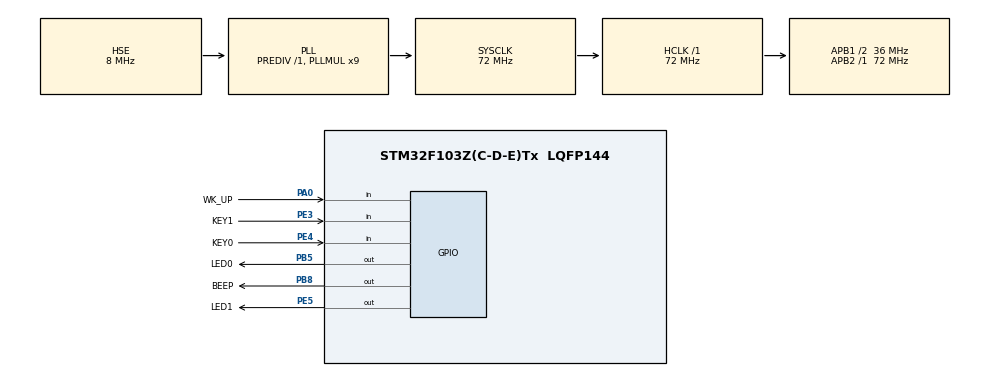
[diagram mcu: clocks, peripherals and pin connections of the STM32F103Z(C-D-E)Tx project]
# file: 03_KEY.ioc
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Mcu.Family=STM32F1
Mcu.Name=STM32F103Z(C-D-E)Tx
Mcu.Package=LQFP144
NVIC.PriorityGroup=NVIC_PRIORITYGROUP_4
OSC_IN.Mode=HSE-External-Oscillator
OSC_IN.Signal=RCC_OSC_IN
OSC_OUT.Mode=HSE-External-Oscillator
OSC_OUT.Signal=RCC_OSC_OUT
PA0-WKUP.GPIO_Label=WK_UP
PA0-WKUP.GPIO_PuPd=GPIO_PULLDOWN
PA0-WKUP.Signal=GPIO_Input
PA13.Mode=Serial_Wire
PA13.Signal=SYS_JTMS-SWDIO
PA14.Mode=Serial_Wire
PA14.Signal=SYS_JTCK-SWCLK
PB5.GPIO_Label=LED0
PB5.GPIO_PuPd=GPIO_PULLUP
PB5.GPIO_Speed=GPIO_SPEED_FREQ_HIGH
PB5.PinState=GPIO_PIN_SET
PB5.Signal=GPIO_Output
PB8.GPIO_Label=BEEP
PB8.GPIO_ModeDefaultOutputPP=GPIO_MODE_OUTPUT_PP
PB8.GPIO_PuPd=GPIO_PULLDOWN
PB8.GPIO_Speed=GPIO_SPEED_FREQ_HIGH
PB8.PinState=GPIO_PIN_RESET
PB8.Signal=GPIO_Output
PC14-OSC32_IN.Mode=LSE-External-Oscillator
PC14-OSC32_IN.Signal=RCC_OSC32_IN
PC15-OSC32_OUT.Mode=LSE-External-Oscillator
PC15-OSC32_OUT.Signal=RCC_OSC32_OUT
PE3.GPIO_Label=KEY1
PE3.GPIO_PuPd=GPIO_PULLUP
PE3.Signal=GPIO_Input
PE4.GPIO_Label=KEY0
PE4.GPIO_PuPd=GPIO_PULLUP
PE4.Signal=GPIO_Input
PE5.GPIO_Label=LED1
PE5.GPIO_PuPd=GPIO_PULLUP
PE5.GPIO_Speed=GPIO_SPEED_FREQ_HIGH
PE5.PinState=GPIO_PIN_SET
PE5.Signal=GPIO_Output
ProjectManager.HeapSize=0x200
ProjectManager.StackSize=0x400
ProjectManager.TargetToolchain=STM32CubeIDE
RCC.AHBFreq_Value=72000000
RCC.APB1CLKDivider=RCC_HCLK_DIV2
RCC.APB1Freq_Value=36000000
RCC.APB1TimFreq_Value=72000000
RCC.APB2Freq_Value=72000000
RCC.APB2TimFreq_Value=72000000
RCC.HCLKFreq_Value=72000000
RCC.PLLMUL=RCC_PLL_MUL9
RCC.PLLSourceVirtual=RCC_PLLSOURCE_HSE
RCC.SYSCLKFreq_VALUE=72000000
RCC.SYSCLKSource=RCC_SYSCLKSOURCE_PLLCLK
RCC.USBFreq_Value=72000000
board=custom

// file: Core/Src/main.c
/* USER CODE BEGIN Header */

/* USER CODE END Header */
#include "main.h"
#include "gpio.h"

/* USER CODE BEGIN Includes */
#include "../../BSP/LED/led.h"
#include "../../BSP/BEEP/beep.h"
#include "../../BSP/KEY/key.h"
#include "../../SYSTEM/delay/delay.h"
/* USER CODE END Includes */

void SystemClock_Config(void);

int main(void)
{
  /* USER CODE BEGIN 1 */
  uint8_t key;
  /* USER CODE END 1 */

  /* MCU Configuration--------------------------------------------------------*/

  /* Reset of all peripherals, Initializes the Flash interface and the Systick. */
  HAL_Init();

  /* Configure the system clock */
  SystemClock_Config();

  /* USER CODE BEGIN SysInit */
  delay_init(72);						   /* 初始化延时函数 */
  /* USER CODE END SysInit */

  /* Initialize all configured peripherals */
  MX_GPIO_Init();

  /* Infinite loop */
  /* USER CODE BEGIN WHILE */
  while (1)
  {
	  key = key_scan(0);                  /* 得到键值 */
	  if (key)
	  {
		  switch (key)
		  {
			  case WKUP_PRES:             /* 控制蜂鸣器 */
				  BEEP_TOGGLE();          /* BEEP状态取反 */
				  break;

			  case KEY1_PRES:             /* 控制LED1(GREEN)翻转 */
				  LED1_TOGGLE();          /* LED1状态取反 */
				  break;

			  case KEY0_PRES:             /* 同时控制LED0, LED1翻转 */
				  LED0_TOGGLE();          /* LED0状态取反 */
				  LED1_TOGGLE();          /* LED1状态取反 */
				  break;
		  }
	  }
	  else
	  {
		  delay_ms(10);
	  }

    /* USER CODE END WHILE */

  }
}

void SystemClock_Config(void)
{
  RCC_OscInitTypeDef RCC_OscInitStruct = {0};
  RCC_ClkInitTypeDef RCC_ClkInitStruct = {0};

  /** Initializes the RCC Oscillators according to the specified parameters
  * in the RCC_OscInitTypeDef structure.
  */
  RCC_OscInitStruct.OscillatorType = RCC_OSCILLATORTYPE_HSE;
  RCC_OscInitStruct.HSEState = RCC_HSE_ON;
  RCC_OscInitStruct.HSEPredivValue = RCC_HSE_PREDIV_DIV1;
  RCC_OscInitStruct.HSIState = RCC_HSI_ON;
  RCC_OscInitStruct.PLL.PLLState = RCC_PLL_ON;
  RCC_OscInitStruct.PLL.PLLSource = RCC_PLLSOURCE_HSE;
  RCC_OscInitStruct.PLL.PLLMUL = RCC_PLL_MUL9;
  if (HAL_RCC_OscConfig(&RCC_OscInitStruct) != HAL_OK)
  {
    Error_Handler();
  }

  /** Initializes the CPU, AHB and APB buses clocks
  */
  RCC_ClkInitStruct.ClockType = RCC_CLOCKTYPE_HCLK|RCC_CLOCKTYPE_SYSCLK
                              |RCC_CLOCKTYPE_PCLK1|RCC_CLOCKTYPE_PCLK2;
  RCC_ClkInitStruct.SYSCLKSource = RCC_SYSCLKSOURCE_PLLCLK;
  RCC_ClkInitStruct.AHBCLKDivider = RCC_SYSCLK_DIV1;
  RCC_ClkInitStruct.APB1CLKDivider = RCC_HCLK_DIV2;
  RCC_ClkInitStruct.APB2CLKDivider = RCC_HCLK_DIV1;

  if (HAL_RCC_ClockConfig(&RCC_ClkInitStruct, FLASH_LATENCY_2) != HAL_OK)
  {
    Error_Handler();
  }
}

void Error_Handler(void)
{
  __disable_irq();
  while (1)
  {
  }
}
